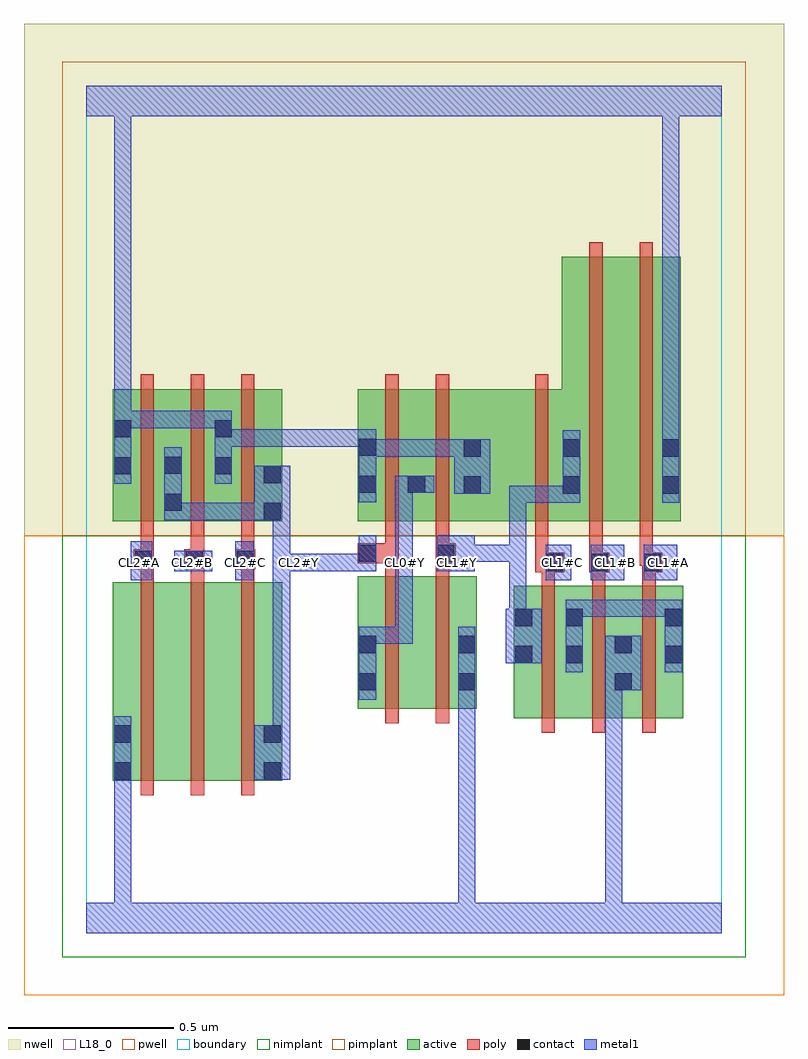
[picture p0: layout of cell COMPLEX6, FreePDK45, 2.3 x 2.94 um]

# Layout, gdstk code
import gdstk
lib = gdstk.Library(unit=1e-6, precision=1e-09)
def R(c, l, rs):  # rectangles x0, y0, x1, y1
    for r in rs: c.add(gdstk.rectangle(r[:2], r[2:], *l))
def A(c, l, x, y, w, h, nx, ny, dx, dy):  # array of equal rectangles
    R(c, l, [(x+i*dx, y+j*dy, x+i*dx+w, y+j*dy+h) for i in range(nx) for j in range(ny)])
active = (1, 0)
pwell = (2, 0)
nwell = (3, 0)
nimplant = (4, 0)
pimplant = (5, 0)
poly = (9, 0)
contact = (10, 0)
metal1 = (11, 0)
L18_0 = (18, 0)
boundary = (235, 0)

complex6 = lib.new_cell('COMPLEX6')
A(complex6, active, 0.08, 1.244, 0.06, 0.4, 3, 1, 0.152, 0)
R(complex6, active, [(0.08,0.46,0.14,1.06), (0.08,0.46,0.26,1.06), (0.26,0.46,0.412,1.06), (0.412,0.46,0.592,1.06), (0.532,0.46,0.592,1.06), (1.292,0.65,1.352,1.05), (1.292,0.65,1.504,1.05), (1.444,0.65,1.504,1.05), (1.444,0.65,1.652,1.05), (1.592,0.65,1.804,1.05), (1.592,0.65,1.652,0.902), (1.744,0.65,1.804,1.05), (0.82,0.678,0.88,1.078), (0.82,0.678,1,1.078), (1,0.678,1.18,1.078), (1.12,0.678,1.18,1.078), (0.08,1.244,0.292,1.644), (0.232,1.244,0.444,1.644), (0.384,1.244,0.592,1.644), (0.532,1.244,0.592,1.644), (0.82,1.244,0.88,1.644), (0.82,1.244,1.028,1.644), (0.968,1.244,1.196,1.644), (1.136,1.244,1.496,1.644), (1.436,1.244,1.616,2.044), (1.616,1.244,1.796,2.044), (1.736,1.244,1.796,2.044), (1.136,1.324,1.196,1.644), (1.436,1.324,1.496,1.644), (0.968,1.326,1.028,1.644)])
R(complex6, pwell, [(-0.188,-0.188,2.108,1.2)])
R(complex6, nwell, [(-0.188,1.2,2.108,2.748)])
R(complex6, nimplant, [(-0.072,-0.072,1.992,1.2)])
R(complex6, pimplant, [(-0.072,1.2,1.992,2.632)])
A(complex6, poly, 0.164, 0.416, 0.04, 0.688, 3, 1, 0.152, 0)
A(complex6, poly, 1.376, 0.606, 0.04, 0.488, 3, 1, 0.152, 0)
A(complex6, poly, 1.376, 1.054, 0.04, 0.076, 3, 1, 0.152, 0)
A(complex6, poly, 0.164, 1.064, 0.04, 0.076, 3, 1, 0.152, 0)
A(complex6, poly, 0.164, 1.12, 0.04, 0.12, 3, 1, 0.152, 0)
A(complex6, poly, 0.164, 1.2, 0.04, 0.488, 3, 1, 0.152, 0)
R(complex6, poly, [(0.904,0.634,0.944,1.122), (1.056,0.634,1.096,1.122), (0.904,1.082,0.944,1.158), (1.056,1.082,1.096,1.158), (1.356,1.09,1.444,1.15), (1.376,1.09,1.416,1.13), (1.376,1.09,1.416,1.13), (1.52,1.09,1.58,1.15), (1.528,1.09,1.568,1.13), (1.528,1.09,1.568,1.13), (1.68,1.09,1.74,1.15), (0.144,1.1,0.204,1.16), (0.164,1.1,0.204,1.14), (0.164,1.1,0.204,1.14), (0.296,1.1,0.356,1.16), (0.45,1.1,0.51,1.16), (1.356,1.11,1.396,1.24), (1.52,1.11,1.56,1.24), (1.672,1.11,1.712,1.24), (1.672,1.11,1.72,1.15), (1.68,1.11,1.72,1.15), (0.82,1.118,0.944,1.178), (1.056,1.118,1.116,1.178), (0.316,1.12,0.356,1.16), (0.316,1.12,0.356,1.16), (0.468,1.12,0.508,1.16), (0.468,1.12,0.508,1.16), (0.904,1.138,0.944,1.178), (0.904,1.138,0.944,1.178), (0.904,1.138,0.944,1.24), (1.056,1.138,1.096,1.178), (1.056,1.138,1.096,1.178), (1.056,1.138,1.096,1.24), (0.904,1.2,0.944,1.688), (1.056,1.2,1.096,1.688), (1.356,1.2,1.396,1.688), (1.52,1.2,1.56,2.088), (1.672,1.2,1.712,2.088)])
A(complex6, contact, 1.14, 1.328, 0.052, 0.052, 3, 2, 0.3, 0.112)
R(complex6, contact, [(0.084,0.464,0.136,0.516), (0.536,0.464,0.588,0.516), (0.084,0.576,0.136,0.628), (0.536,0.576,0.588,0.628), (0.824,0.734,0.876,0.786), (1.124,0.734,1.176,0.786), (1.596,0.734,1.648,0.786), (1.296,0.816,1.348,0.868), (1.448,0.816,1.5,0.868), (1.748,0.816,1.8,0.868), (0.824,0.846,0.876,0.898), (1.124,0.846,1.176,0.898), (1.596,0.846,1.648,0.898), (1.296,0.928,1.348,0.98), (1.448,0.928,1.5,0.98), (1.748,0.928,1.8,0.98), (1.388,1.094,1.44,1.146), (1.524,1.094,1.576,1.146), (1.684,1.094,1.736,1.146), (0.148,1.104,0.2,1.156), (0.3,1.104,0.352,1.156), (0.454,1.104,0.506,1.156), (0.824,1.122,0.876,1.174), (1.06,1.122,1.112,1.174), (0.536,1.248,0.588,1.3), (0.236,1.276,0.288,1.328), (0.824,1.33,0.876,1.382), (0.972,1.33,1.024,1.382), (0.536,1.36,0.588,1.412), (0.084,1.386,0.136,1.438), (0.388,1.386,0.44,1.438), (0.236,1.388,0.288,1.44), (0.824,1.442,0.876,1.494), (0.084,1.498,0.136,1.55), (0.388,1.498,0.44,1.55)])
R(complex6, metal1, [(0,0,1.92,0.092), (0.084,0.04,0.136,0.092), (0.084,0.04,0.136,0.092), (0.084,0.04,0.136,0.092), (0.084,0.04,0.136,0.092), (0.084,0.04,0.136,0.092), (0.084,0.04,0.136,0.092), (0.084,0.04,0.136,0.488), (1.124,0.04,1.176,0.092), (1.124,0.04,1.176,0.092), (1.124,0.04,1.176,0.092), (1.124,0.04,1.176,0.092), (1.124,0.04,1.176,0.092), (1.124,0.04,1.176,0.092), (1.124,0.04,1.176,0.092), (1.124,0.04,1.176,0.092), (1.124,0.04,1.176,0.092), (1.124,0.04,1.176,0.092), (1.124,0.04,1.176,0.758), (1.568,0.04,1.62,0.092), (1.568,0.04,1.62,0.092), (1.568,0.04,1.62,0.092), (1.568,0.04,1.62,0.092), (1.568,0.04,1.62,0.092), (1.568,0.04,1.62,0.092), (1.568,0.04,1.62,0.092), (1.568,0.04,1.62,0.092), (1.568,0.04,1.62,0.092), (1.568,0.04,1.62,0.092), (1.568,0.04,1.62,0.786), (0.084,0.436,0.136,0.488), (0.084,0.436,0.136,0.488), (0.084,0.436,0.136,0.656), (0.508,0.464,0.616,0.628), (0.564,0.576,0.616,1.146), (0.824,0.706,0.876,0.926), (1.124,0.706,1.176,0.758), (1.124,0.706,1.176,0.758), (1.124,0.706,1.176,0.926), (1.568,0.734,1.62,0.786), (1.568,0.734,1.62,0.786), (1.568,0.734,1.676,0.898), (1.448,0.788,1.5,1.008), (1.748,0.788,1.8,1.008), (1.268,0.816,1.376,0.98), (0.824,0.874,0.876,0.926), (0.824,0.874,0.876,0.926), (0.824,0.874,0.986,0.926), (0.934,0.874,0.986,0.926), (0.934,0.874,0.986,1.118), (1.278,0.928,1.33,1.174), (1.448,0.956,1.5,1.008), (1.448,0.956,1.5,1.008), (1.448,0.956,1.61,1.008), (1.558,0.956,1.61,1.008), (1.558,0.956,1.61,1.008), (1.558,0.956,1.61,1.008), (1.558,0.956,1.8,1.008), (0.134,1.066,0.2,1.184), (0.45,1.066,0.506,1.184), (0.934,1.066,0.986,1.174), (1.388,1.066,1.466,1.174), (1.524,1.066,1.626,1.174), (1.684,1.066,1.786,1.174), (0.266,1.094,0.38,1.156), (0.564,1.094,0.616,1.146), (0.564,1.094,0.616,1.146), (0.564,1.094,0.616,1.3), (0.564,1.094,0.694,1.146), (0.642,1.094,0.876,1.146), (0.824,1.094,0.876,1.146), (0.824,1.094,0.876,1.146), (0.824,1.094,0.876,1.202), (1.06,1.094,1.174,1.202), (0.934,1.122,0.986,1.382), (1.122,1.122,1.174,1.174), (1.122,1.122,1.174,1.174), (1.122,1.122,1.33,1.174), (1.278,1.122,1.33,1.174), (1.278,1.122,1.33,1.174), (1.278,1.122,1.33,1.174), (1.278,1.122,1.33,1.352), (0.236,1.248,0.288,1.3), (0.236,1.248,0.288,1.3), (0.236,1.248,0.288,1.468), (0.236,1.248,0.45,1.3), (0.398,1.248,0.45,1.3), (0.398,1.248,0.56,1.3), (0.508,1.248,0.56,1.3), (0.508,1.248,0.56,1.3), (0.508,1.248,0.616,1.412), (1.278,1.3,1.33,1.352), (1.278,1.3,1.33,1.352), (1.278,1.3,1.33,1.352), (1.278,1.3,1.492,1.352), (1.44,1.3,1.492,1.52), (1.74,1.3,1.792,1.52), (0.824,1.302,0.876,1.522), (1.112,1.328,1.22,1.492), (0.934,1.33,0.996,1.382), (0.944,1.33,0.996,1.382), (0.944,1.33,1.052,1.382), (0.084,1.358,0.136,1.578), (0.388,1.358,0.44,1.578), (0.824,1.44,0.876,1.492), (0.824,1.44,0.876,1.492), (0.824,1.44,0.986,1.492), (0.934,1.44,0.986,1.492), (0.934,1.44,0.986,1.492), (0.934,1.44,0.986,1.492), (0.934,1.44,1.164,1.492), (1.74,1.468,1.792,2.52), (0.388,1.47,0.56,1.522), (0.508,1.47,0.56,1.522), (0.508,1.47,0.56,1.522), (0.508,1.47,0.56,1.522), (0.508,1.47,0.876,1.522), (0.084,1.526,0.136,1.578), (0.084,1.526,0.136,1.578), (0.084,1.526,0.136,1.578), (0.084,1.526,0.136,1.578), (0.084,1.526,0.136,1.578), (0.084,1.526,0.136,1.578), (0.084,1.526,0.136,1.578), (0.084,1.526,0.136,1.578), (0.084,1.526,0.136,1.578), (0.084,1.526,0.136,1.578), (0.084,1.526,0.136,1.578), (0.084,1.526,0.136,1.578), (0.084,1.526,0.33,1.578), (0.084,1.526,0.136,2.52), (0.278,1.526,0.33,1.578), (0.278,1.526,0.33,1.578), (0.278,1.526,0.33,1.578), (0.278,1.526,0.44,1.578), (0,2.468,1.92,2.56), (0.084,2.468,0.136,2.52), (0.084,2.468,0.136,2.52), (0.084,2.468,0.136,2.52), (0.084,2.468,0.136,2.52), (0.084,2.468,0.136,2.52), (0.084,2.468,0.136,2.52), (1.74,2.468,1.792,2.52), (1.74,2.468,1.792,2.52), (1.74,2.468,1.792,2.52), (1.74,2.468,1.792,2.52), (1.74,2.468,1.792,2.52), (1.74,2.468,1.792,2.52), (1.74,2.468,1.792,2.52), (1.74,2.468,1.792,2.52)])
A(complex6, L18_0, 0.134, 1.094, 0.052, 0.052, 3, 1, 0.16, 0)
A(complex6, L18_0, 1.414, 1.094, 0.052, 0.052, 3, 1, 0.16, 0)
R(complex6, L18_0, [(0,0,1.92,0.092), (0.084,0.04,0.136,0.092), (0.084,0.04,0.136,0.092), (0.084,0.04,0.136,0.092), (0.084,0.04,0.136,0.092), (0.084,0.04,0.136,0.092), (0.084,0.04,0.136,0.092), (0.084,0.04,0.136,0.488), (1.124,0.04,1.176,0.092), (1.124,0.04,1.176,0.092), (1.124,0.04,1.176,0.092), (1.124,0.04,1.176,0.092), (1.124,0.04,1.176,0.092), (1.124,0.04,1.176,0.092), (1.124,0.04,1.176,0.092), (1.124,0.04,1.176,0.092), (1.124,0.04,1.176,0.092), (1.124,0.04,1.176,0.092), (1.124,0.04,1.176,0.758), (1.568,0.04,1.62,0.092), (1.568,0.04,1.62,0.092), (1.568,0.04,1.62,0.092), (1.568,0.04,1.62,0.092), (1.568,0.04,1.62,0.092), (1.568,0.04,1.62,0.092), (1.568,0.04,1.62,0.092), (1.568,0.04,1.62,0.092), (1.568,0.04,1.62,0.092), (1.568,0.04,1.62,0.092), (1.568,0.04,1.62,0.786), (0.084,0.436,0.136,0.488), (0.084,0.436,0.136,0.488), (0.084,0.436,0.136,0.656), (0.508,0.464,0.616,0.628), (0.564,0.576,0.616,1.146), (0.824,0.706,0.876,0.926), (1.124,0.706,1.176,0.758), (1.124,0.706,1.176,0.758), (1.124,0.706,1.176,0.926), (1.568,0.734,1.62,0.786), (1.568,0.734,1.62,0.786), (1.568,0.734,1.676,0.898), (1.268,0.816,1.376,0.98), (0.824,0.874,0.876,0.926), (0.824,0.874,0.876,0.926), (0.824,0.874,0.986,0.926), (0.934,0.874,0.986,0.926), (0.934,0.874,0.986,1.118), (1.278,0.928,1.33,1.174), (0.134,1.066,0.2,1.184), (0.45,1.066,0.506,1.184), (0.934,1.066,0.986,1.174), (1.388,1.066,1.466,1.174), (1.524,1.066,1.626,1.174), (1.684,1.066,1.786,1.174), (0.266,1.094,0.38,1.156), (0.564,1.094,0.616,1.146), (0.564,1.094,0.616,1.146), (0.564,1.094,0.694,1.146), (0.564,1.094,0.616,1.3), (0.614,1.094,0.666,1.146), (0.642,1.094,0.876,1.146), (0.824,1.094,0.876,1.146), (0.824,1.094,0.876,1.146), (0.824,1.094,0.876,1.202), (0.934,1.094,0.986,1.146), (1.06,1.094,1.174,1.202), (1.094,1.094,1.146,1.146), (0.934,1.122,0.986,1.382), (1.122,1.122,1.174,1.174), (1.122,1.122,1.174,1.174), (1.122,1.122,1.33,1.174), (1.278,1.122,1.33,1.174), (1.278,1.122,1.33,1.174), (1.278,1.122,1.33,1.174), (1.278,1.122,1.33,1.352), (0.236,1.248,0.288,1.3), (0.236,1.248,0.288,1.3), (0.236,1.248,0.288,1.468), (0.236,1.248,0.45,1.3), (0.398,1.248,0.45,1.3), (0.398,1.248,0.56,1.3), (0.508,1.248,0.56,1.3), (0.508,1.248,0.56,1.3), (0.508,1.248,0.616,1.412), (1.278,1.3,1.33,1.352), (1.278,1.3,1.33,1.352), (1.278,1.3,1.33,1.352), (1.278,1.3,1.492,1.352), (1.44,1.3,1.492,1.52), (1.74,1.3,1.792,1.52), (0.824,1.302,0.876,1.522), (1.112,1.328,1.22,1.492), (0.934,1.33,0.996,1.382), (0.944,1.33,0.996,1.382), (0.944,1.33,1.052,1.382), (0.084,1.358,0.136,1.578), (0.388,1.358,0.44,1.578), (0.824,1.44,0.876,1.492), (0.824,1.44,0.876,1.492), (0.824,1.44,0.986,1.492), (0.934,1.44,0.986,1.492), (0.934,1.44,0.986,1.492), (0.934,1.44,0.986,1.492), (0.934,1.44,1.164,1.492), (1.74,1.468,1.792,2.52), (0.388,1.47,0.56,1.522), (0.508,1.47,0.56,1.522), (0.508,1.47,0.56,1.522), (0.508,1.47,0.56,1.522), (0.508,1.47,0.876,1.522), (0.084,1.526,0.136,1.578), (0.084,1.526,0.136,1.578), (0.084,1.526,0.136,1.578), (0.084,1.526,0.136,1.578), (0.084,1.526,0.136,1.578), (0.084,1.526,0.136,1.578), (0.084,1.526,0.136,1.578), (0.084,1.526,0.136,1.578), (0.084,1.526,0.136,1.578), (0.084,1.526,0.136,1.578), (0.084,1.526,0.136,1.578), (0.084,1.526,0.136,1.578), (0.084,1.526,0.136,2.52), (0.084,1.526,0.33,1.578), (0.278,1.526,0.33,1.578), (0.278,1.526,0.33,1.578), (0.278,1.526,0.33,1.578), (0.278,1.526,0.44,1.578), (0,2.468,1.92,2.56), (0.084,2.468,0.136,2.52), (0.084,2.468,0.136,2.52), (0.084,2.468,0.136,2.52), (0.084,2.468,0.136,2.52), (0.084,2.468,0.136,2.52), (0.084,2.468,0.136,2.52), (1.74,2.468,1.792,2.52), (1.74,2.468,1.792,2.52), (1.74,2.468,1.792,2.52), (1.74,2.468,1.792,2.52), (1.74,2.468,1.792,2.52), (1.74,2.468,1.792,2.52), (1.74,2.468,1.792,2.52), (1.74,2.468,1.792,2.52)])
R(complex6, boundary, [(0,0,1.92,2.56)])
complex6.add(gdstk.Label('CL0#Y', (0.96,1.12), layer=11, texttype=0))
complex6.add(gdstk.Label('CL1#A', (1.76,1.12), layer=11, texttype=0))
complex6.add(gdstk.Label('CL1#B', (1.6,1.12), layer=11, texttype=0))
complex6.add(gdstk.Label('CL1#C', (1.44,1.12), layer=11, texttype=0))
complex6.add(gdstk.Label('CL1#Y', (1.12,1.12), layer=11, texttype=0))
complex6.add(gdstk.Label('CL2#A', (0.16,1.12), layer=11, texttype=0))
complex6.add(gdstk.Label('CL2#B', (0.32,1.12), layer=11, texttype=0))
complex6.add(gdstk.Label('CL2#C', (0.48,1.12), layer=11, texttype=0))
complex6.add(gdstk.Label('CL2#Y', (0.64,1.12), layer=11, texttype=0))

lib.write_gds('COMPLEX6.gds')
